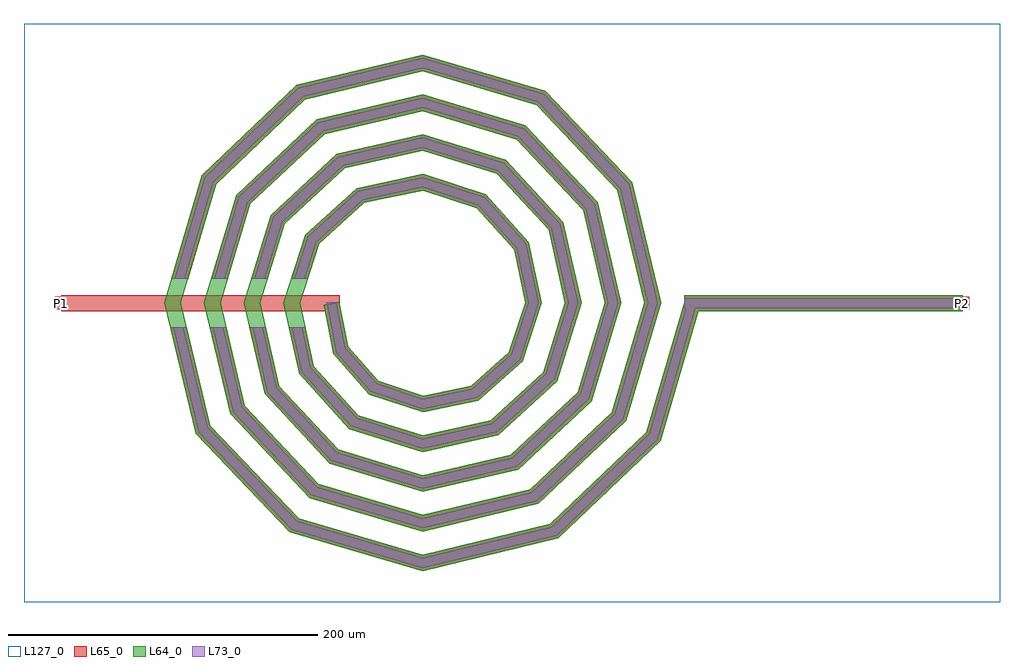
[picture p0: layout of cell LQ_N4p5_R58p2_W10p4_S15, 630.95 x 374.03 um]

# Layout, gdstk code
import gdstk
lib = gdstk.Library(unit=1e-6, precision=1e-09)
def R(c, l, rs):  # rectangles x0, y0, x1, y1
    for r in rs: c.add(gdstk.rectangle(r[:2], r[2:], *l))
def P(c, l, *ps):  # polygons
    for p in ps: c.add(gdstk.Polygon(p, *l))
L64_0 = (64, 0)
L65_0 = (65, 0)
L73_0 = (73, 0)
L127_0 = (127, 0)

lq_n4p5_r58p2_w10p4_s15 = lib.new_cell('LQ_N4p5_R58p2_W10p4_S15')
R(lq_n4p5_r58p2_w10p4_s15, L64_0, [(169.28,-5.2,349.28,5.2)])
P(lq_n4p5_r58p2_w10p4_s15, L64_0, [(-48.006,-28.123),(-28.593,-50.205),(0.329,-59.916),(31.304,-53.583),(55.751,-31.831),(66.338,0.3),(59.158,34.491),(35.065,61.299),(0.275,72.759),(-37.682,64.732),(-66.85,38.295),(-79.182,0.254),(-70.303,-40.876),(-41.522,-72.402),(0.236,-85.604),(44.072,-75.874),(77.956,-44.747),(92.026,0.221),(81.443,47.27),(47.971,83.511),(0.207,98.448),(-50.47,87.011),(-89.066,51.193),(-104.871,0.195),(-92.579,-53.672),(-54.414,-94.623),(0.184,-111.294),(56.874,-98.147),(100.18,-57.634),(117.716,0.175),(103.713,60.077),(60.853,105.738),(0.166,124.139),(-63.281,109.28),(-111.296,64.071),(-130.562,0.158),(-114.846,-66.486),(-67.289,-116.854),(0.151,-136.984),(69.691,-120.412),(122.413,-70.506),(143.407,0.145),(125.977,72.897),(73.723,127.973),(0.139,149.83),(-76.104,131.542),(-133.532,76.939),(-156.253,0.133),(-137.107,-79.31),(-80.155,-139.092),(0.128,-162.675),(82.518,-142.672),(144.652,-83.371),(169.49,1.461),(179.471,-1.461),(153.849,-88.969),(87.681,-152.12),(0.128,-173.44),(-85.762,-148.284),(-146.56,-84.465),(-167.017,0.133),(-142.719,82.555),(-81.249,141.001),(0.139,160.594),(79.348,137.154),(135.441,78.032),(154.171,0.145),(131.588,-76.142),(74.815,-129.882),(0.151,-147.748),(-72.936,-126.022),(-124.323,-71.598),(-141.324,0.158),(-120.456,69.731),(-68.38,118.764),(0.166,134.901),(66.526,114.889),(113.205,65.161),(128.478,0.175),(109.322,-63.322),(61.941,-107.647),(0.184,-122.055),(-60.12,-103.755),(-102.09,-58.721),(-115.632,0.195),(-98.186,56.918),(-55.499,96.533),(0.207,109.209),(53.717,92.617),(90.977,52.276),(102.785,0.221),(87.047,-50.517),(49.052,-85.421),(0.236,-96.362),(-47.32,-81.476),(-79.867,-45.825),(-89.938,0.254),(-75.904,44.124),(-42.596,74.314),(0.275,83.514),(40.931,70.33),(68.762,39.364),(77.09,0.3),(64.753,-37.742),(36.128,-63.212),(0.329,-70.666),(-34.557,-59.174),(-57.665,-32.887),(-63.969,-1.009),(-53.767,1.009)])
R(lq_n4p5_r58p2_w10p4_s15, L65_0, [(-233.668,-5.2,-53.668,5.2), (169.28,-5.2,349.28,5.2), (-237.668,-4,-229.668,4), (345.28,-4,353.28,4)])
P(lq_n4p5_r58p2_w10p4_s15, L65_0, [(-137.107,-79.311),(-80.155,-139.092),(0.128,-162.675),(82.518,-142.672),(144.652,-83.371),(169.49,1.461),(179.471,-1.461),(153.849,-88.969),(87.681,-152.121),(0.128,-173.44),(-85.762,-148.284),(-146.561,-84.465),(-163.212,-15.6),(-152.513,-15.6)],
  [(-114.846,-66.486),(-67.289,-116.855),(0.151,-136.984),(69.692,-120.412),(122.413,-70.506),(143.407,0.145),(125.977,72.897),(73.723,127.973),(0.139,149.83),(-76.104,131.542),(-133.532,76.939),(-151.615,15.6),(-162.457,15.6),(-142.719,82.555),(-81.249,141.001),(0.139,160.594),(79.348,137.154),(135.441,78.032),(154.171,0.145),(131.588,-76.142),(74.815,-129.882),(0.151,-147.748),(-72.936,-126.022),(-124.323,-71.598),(-137.591,-15.6),(-126.903,-15.6)],
  [(-92.579,-53.672),(-54.414,-94.623),(0.184,-111.294),(56.874,-98.147),(100.18,-57.634),(117.716,0.175),(103.713,60.077),(60.853,105.738),(0.166,124.139),(-63.281,109.28),(-111.296,64.071),(-125.835,15.6),(-136.693,15.6),(-120.456,69.731),(-68.38,118.764),(0.166,134.901),(66.526,114.889),(113.205,65.161),(128.478,0.175),(109.322,-63.323),(61.941,-107.647),(0.184,-122.055),(-60.12,-103.755),(-102.09,-58.721),(-112.001,-15.6),(-101.33,-15.6)],
  [(-70.303,-40.876),(-41.522,-72.402),(0.236,-85.604),(44.072,-75.874),(77.956,-44.747),(92.026,0.221),(81.443,47.27),(47.971,83.511),(0.207,98.449),(-50.47,87.012),(-89.066,51.193),(-100.013,15.6),(-110.894,15.6),(-98.186,56.918),(-55.499,96.533),(0.207,109.209),(53.717,92.617),(90.977,52.276),(102.785,0.221),(87.048,-50.517),(49.052,-85.421),(0.236,-96.362),(-47.32,-81.476),(-79.867,-45.825),(-86.473,-15.6),(-75.828,-15.6)],
  [(-28.593,-50.205),(0.329,-59.916),(31.304,-53.583),(55.751,-31.831),(66.338,0.3),(59.158,34.491),(35.065,61.299),(0.275,72.76),(-37.682,64.732),(-66.85,38.295),(-74.11,15.6),(-85.029,15.6),(-75.904,44.124),(-42.596,74.314),(0.275,83.514),(40.931,70.33),(68.762,39.364),(77.09,0.3),(64.753,-37.742),(36.128,-63.212),(0.329,-70.666),(-34.557,-59.174),(-57.665,-32.887),(-63.969,-1.009),(-53.767,1.009),(-48.006,-28.123)])
R(lq_n4p5_r58p2_w10p4_s15, L73_0, [(169.28,-3.2,349.28,3.2)])
P(lq_n4p5_r58p2_w10p4_s15, L73_0, [(-138.925,-80.302),(-81.233,-140.86),(0.079,-164.745),(83.511,-144.489),(146.42,-84.447),(171.409,0.899),(177.552,0.899),(152.08,-87.892),(86.688,-150.304),(0.079,-171.37),(-84.683,-146.516),(-144.743,-83.474),(-161.155,-15.6),(-154.57,-15.6)],
  [(-116.668,-67.469),(-68.375,-118.618),(0.093,-139.054),(70.677,-122.233),(124.178,-71.59),(145.477,0.089),(127.797,73.885),(74.805,129.738),(0.085,151.9),(-77.093,133.361),(-135.299,78.019),(-153.7,15.6),(-160.372,15.6),(-140.952,81.475),(-80.26,139.182),(0.085,158.524),(78.266,135.388),(133.621,77.045),(152.101,0.089),(129.824,-75.058),(73.83,-128.06),(0.093,-145.678),(-71.85,-124.259),(-122.5,-70.615),(-135.535,-15.6),(-128.958,-15.6)],
  [(-94.408,-54.643),(-55.511,-96.379),(0.113,-113.363),(57.848,-99.974),(101.938,-58.728),(119.786,0.108),(105.539,61.055),(61.944,107.498),(0.102,126.209),(-64.262,111.104),(-113.058,65.16),(-127.923,15.6),(-134.605,15.6),(-118.695,68.643),(-67.399,116.94),(0.102,132.832),(65.435,113.13),(111.38,64.183),(126.409,0.108),(107.564,-62.229),(60.967,-105.82),(0.113,-119.986),(-59.022,-101.999),(-100.261,-57.75),(-109.949,-15.6),(-103.382,-15.6)],
  [(-72.142,-41.828),(-42.637,-74.147),(0.145,-87.673),(45.03,-77.71),(79.704,-45.857),(94.095,0.136),(83.276,48.233),(49.076,85.262),(0.127,100.518),(-51.437,88.843),(-90.82,52.294),(-102.106,15.6),(-108.801,15.6),(-96.433,55.817),(-54.532,94.702),(0.127,107.139),(52.612,90.866),(89.143,51.314),(100.716,0.136),(85.299,-49.408),(48.094,-83.585),(0.145,-94.293),(-46.205,-79.731),(-78.028,-44.873),(-84.426,-15.6),(-77.875,-15.6)],
  [(-29.74,-51.93),(0.202,-61.984),(32.232,-55.435),(57.482,-32.968),(68.406,0.184),(61.005,35.428),(36.193,63.036),(0.169,74.828),(-38.627,66.574),(-68.591,39.416),(-76.21,15.6),(-82.929,15.6),(-74.163,43.003),(-41.651,72.471),(0.169,81.446),(39.803,68.593),(66.915,38.427),(75.023,0.184),(63.022,-36.605),(35.2,-61.361),(0.202,-68.599),(-33.41,-57.449),(-55.808,-31.97),(-62.007,0.621),(-55.729,0.621),(-49.863,-29.039)])
R(lq_n4p5_r58p2_w10p4_s15, L127_0, [(-257.668,-193.44,373.28,180.594)])
lq_n4p5_r58p2_w10p4_s15.add(gdstk.Label('P2', (349.28,0), layer=65, texttype=0))
lq_n4p5_r58p2_w10p4_s15.add(gdstk.Label('P1', (-233.668,0), layer=65, texttype=0))
lq_n4p5_r58p2_w10p4_s15.add(gdstk.Label('P2', (353.28,0), layer=145, texttype=0))
lq_n4p5_r58p2_w10p4_s15.add(gdstk.Label('P1', (-237.668,0), layer=145, texttype=0))

lib.write_gds('LQ_N4p5_R58p2_W10p4_S15.gds')
